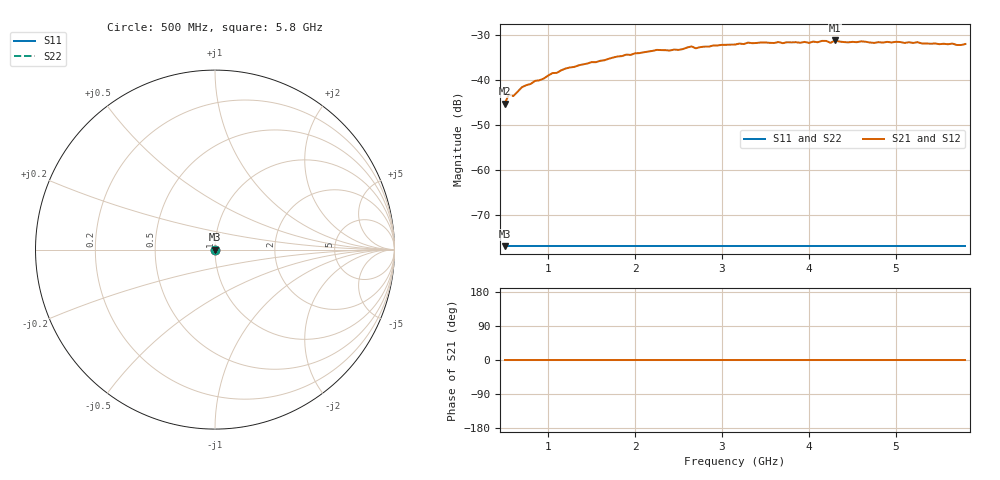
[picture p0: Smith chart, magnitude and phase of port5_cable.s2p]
# GHZ S RI R 50
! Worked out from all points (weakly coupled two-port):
!   107 points, 500 MHz to 5.8 GHz, reference 50 ohm
!   highest |S21| = -31.20 dB at 4.3 GHz (marker M1); lowest = -45.3 dB at 500 MHz (marker M2)
!   lowest |S11| = -77.0 dB at 500 MHz (marker M3), VSWR 1.00, Z = 50 + j0.01 ohm
!   |S11| at or under -10 dB: start of sweep to end of sweep
!   |S22| runs from -77.0 to -77.0 dB; largest |S21 - S12| = 0
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0.5  0.0001 0.0001  0.00545 0  0.00545 0  0.0001 0.0001
0.55  0.0001 0.0001  0.00692 0  0.00692 0  0.0001 0.0001
0.6  0.0001 0.0001  0.00663 0  0.00663 0  0.0001 0.0001
0.7  0.0001 0.0001  0.00833 0  0.00833 0  0.0001 0.0001
0.95  0.0001 0.0001  0.0104 0  0.0104 0  0.0001 0.0001
1.05  0.0001 0.0001  0.0119 0  0.0119 0  0.0001 0.0001
1.4  0.0001 0.0001  0.0149 0  0.0149 0  0.0001 0.0001
1.9  0.0001 0.0001  0.0192 0  0.0192 0  0.0001 0.0001
2.3  0.0001 0.0001  0.0215 0  0.0215 0  0.0001 0.0001
2.5  0.0001 0.0001  0.0216 0  0.0216 0  0.0001 0.0001
2.65  0.0001 0.0001  0.0236 0  0.0236 0  0.0001 0.0001
2.7  0.0001 0.0001  0.0225 0  0.0225 0  0.0001 0.0001
3.15  0.0001 0.0001  0.0248 0  0.0248 0  0.0001 0.0001
3.3  0.0001 0.0001  0.0261 0  0.0261 0  0.0001 0.0001
4  0.0001 0.0001  0.0259 0  0.0259 0  0.0001 0.0001
4.05  0.0001 0.0001  0.0268 0  0.0268 0  0.0001 0.0001
4.2  0.0001 0.0001  0.0272 0  0.0272 0  0.0001 0.0001
4.25  0.0001 0.0001  0.0259 0  0.0259 0  0.0001 0.0001
4.3  0.0001 0.0001  0.0276 0  0.0276 0  0.0001 0.0001
4.45  0.0001 0.0001  0.0262 0  0.0262 0  0.0001 0.0001
4.95  0.0001 0.0001  0.0262 0  0.0262 0  0.0001 0.0001
5.8  0.0001 0.0001  0.0252 0  0.0252 0  0.0001 0.0001
